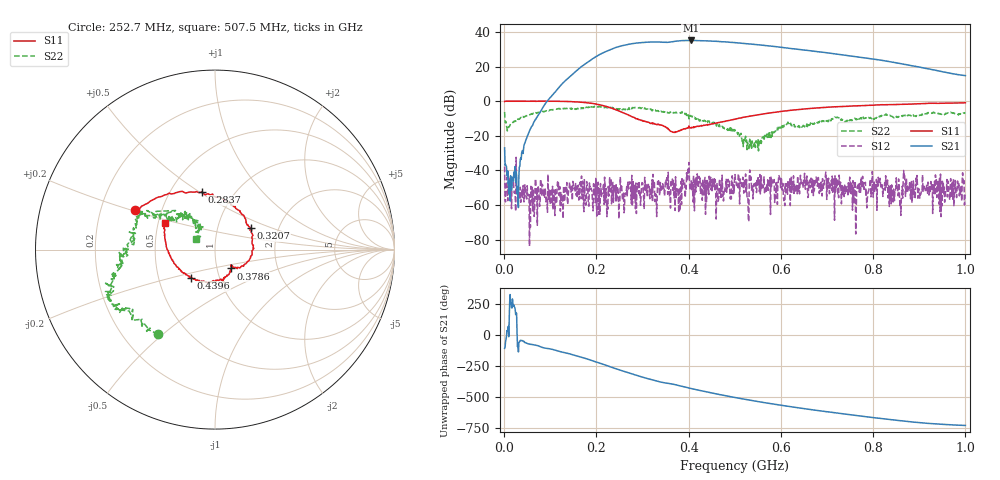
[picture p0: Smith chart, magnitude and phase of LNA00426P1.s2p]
! Created with skrf 1.9.0 (http://scikit-rf.org).
# Hz S RI R 50.0
!freq ReS11 ImS11 ReS21 ImS21 ReS12 ImS12 ReS22 ImS22
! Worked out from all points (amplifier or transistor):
!   1001 points, 1 MHz to 1 GHz, reference 50 ohm
!   highest |S21| = 35.0 dB at 404.6 MHz (marker M1)
!   |S21| within 3 dB of that: 256.5 MHz to 568.6 MHz (312.1 MHz wide, 75.6 % of centre)
!   unconditionally stable (mu >= 1): 276.8 MHz to 398.5 MHz; 401.1 MHz to 866.1 MHz; 866.1 MHz to end of sweep (the widest 3 of 35)
!   at 166.8 MHz: K = 0.32, MSG = 32.8 dB, |S12| = -45.8 dB
!   at 500.5 MHz: K = 1.42, MAG = 34.3 dB, |S12| = -42.4 dB
!   at 1 GHz: K = 7.48, MAG = 22.6 dB, |S12| = -53.9 dB
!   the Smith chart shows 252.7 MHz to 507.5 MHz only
!   S11 on the Smith chart (normalised r, x): 252.7 MHz: 0.35, +0.20; 283.7 MHz: 0.71, +0.51; 320.7 MHz: 1.45, +0.37; 378.6 MHz: 1.17, -0.25; 439.6 MHz: 0.73, -0.24; 507.5 MHz: 0.54, +0.18
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1000000  0.9809 0.0018  -0.0109 -0.0435  -0.00651 0.0111  0.3547 0.3344
1.09891e8  0.5221 -0.8469  -0.8464 -1.583  -0.000484 -0.000117  0.4542 -0.3709
1.67833e8  -0.2094 -0.9038  -9.979 -0.6503  0.00678 -0.00133  0.0578 -0.6429
2.13787e8  -0.6597 -0.3503  -15.4 19.09  -0.000159 -0.00215  -0.2237 -0.6549
2.31769e8  -0.6303 -0.0582  -8.098 30.27  -0.00155 -0.00552  -0.2753 -0.5943
2.52748e8  -0.4448 0.2181  7.744 38.18  -0.00117 0.00361  -0.3171 -0.4714
2.83717e8  -0.0735 0.3209  34.97 31.41  0.000849 0.00368  -0.6008 -0.2729
3.03697e8  0.1069 0.2386  46.79 16.33  -0.00059 0.000488  -0.5635 -0.2081
3.2068e8  0.2006 0.1203  51.24 1.468  -0.00129 0.00521  -0.5164 -0.0865
3.34666e8  0.2166 0.00773  49.98 -10.31  -0.0043 0.00263  -0.5053 -0.0205
3.78622e8  0.0905 -0.1047  39.28 -38.38  0.000582 0.000171  -0.421 0.1979
4.04596e8  0.028 -0.1665  21.53 -52.2  -0.00156 0.00218  -0.3313 0.1929
4.39561e8  -0.1358 -0.1569  -5.617 -54.53  0.00115 0.00219  -0.1659 0.1782
4.69531e8  -0.2423 -0.0503  -24.99 -45.93  0.00132 0.00105  -0.1186 0.1455
5.005e8  -0.2791 0.1081  -38.01 -31.08  0.00259 -0.00714  -0.1146 0.094
5.07493e8  -0.2795 0.1483  -39.48 -27.12  0.00638 -0.00376  -0.1061 0.0611
5.42458e8  -0.2235 0.3172  -42.37 -8.672  0.00326 -1.81e-07  -0.0582 -0.00279
5.88412e8  -0.0467 0.4768  -35.87 10.65  0.000305 -0.00157  -0.1138 -0.0769
6.67333e8  0.3201 0.5311  -14.23 24  0.0013 -0.00189  -0.2147 -0.0535
7.53247e8  0.6217 0.3695  3.815 19.62  0.000485 -0.00266  -0.2741 0.00151
8.34166e8  0.7777 0.1445  10.19 9.484  -0.00194 0.00277  -0.3848 0.0345
1e9  0.8149 -0.3775  5.428 -0.5683  0.000788 -0.00185  -0.2682 0.3556
